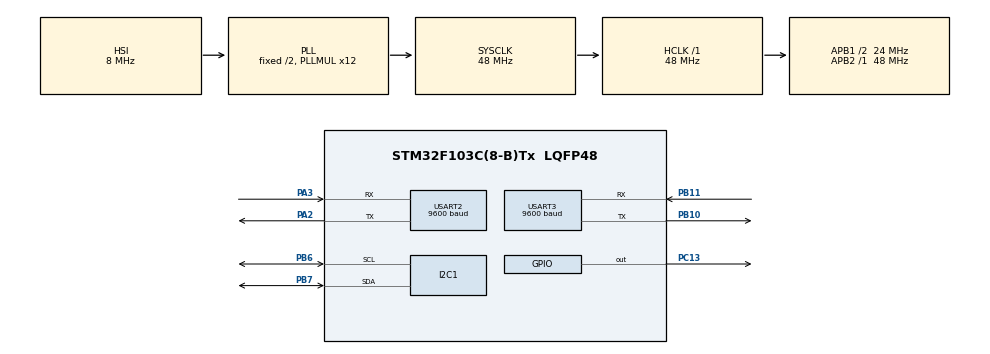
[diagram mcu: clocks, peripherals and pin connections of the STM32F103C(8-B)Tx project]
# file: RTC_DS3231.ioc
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Mcu.Family=STM32F1
Mcu.Name=STM32F103C(8-B)Tx
Mcu.Package=LQFP48
NVIC.PriorityGroup=NVIC_PRIORITYGROUP_4
NVIC.TIM1_UP_IRQn=true\:1\:0\:true\:false\:true\:false\:true
NVIC.TimeBase=TIM1_UP_IRQn
NVIC.TimeBaseIP=TIM1
PA13.Mode=Serial_Wire
PA13.Signal=SYS_JTMS-SWDIO
PA14.Mode=Serial_Wire
PA14.Signal=SYS_JTCK-SWCLK
PA2.Mode=Asynchronous
PA2.Signal=USART2_TX
PA3.Mode=Asynchronous
PA3.Signal=USART2_RX
PB10.Mode=Asynchronous
PB10.Signal=USART3_TX
PB11.Mode=Asynchronous
PB11.Signal=USART3_RX
PB6.Mode=I2C
PB6.Signal=I2C1_SCL
PB7.Mode=I2C
PB7.Signal=I2C1_SDA
PC13-TAMPER-RTC.Signal=GPIO_Output
ProjectManager.HeapSize=0x200
ProjectManager.StackSize=0x400
ProjectManager.TargetToolchain=MDK-ARM V5
RCC.AHBFreq_Value=48000000
RCC.APB1CLKDivider=RCC_HCLK_DIV2
RCC.APB1Freq_Value=24000000
RCC.APB1TimFreq_Value=48000000
RCC.APB2Freq_Value=48000000
RCC.APB2TimFreq_Value=48000000
RCC.HCLKFreq_Value=48000000
RCC.PLLMUL=RCC_PLL_MUL12
RCC.SYSCLKFreq_VALUE=48000000
RCC.SYSCLKSource=RCC_SYSCLKSOURCE_PLLCLK
RCC.USBFreq_Value=48000000
USART2.BaudRate=9600
USART2.VirtualMode=VM_ASYNC
USART3.BaudRate=9600
USART3.VirtualMode=VM_ASYNC
VP_SYS_VS_tim1.Mode=TIM1
board=custom

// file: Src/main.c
/* USER CODE BEGIN Header */
/**
  ******************************************************************************
  * @file           : main.c
  * @brief          : Main program body
  ******************************************************************************
  * @attention
  *
  * <h2><center>&copy; Copyright (c) 2021 STMicroelectronics.
  * All rights reserved.</center></h2>
  *
  * This software component is licensed by ST under BSD 3-Clause license,
  * the "License"; You may not use this file except in compliance with the
  * License. You may obtain a copy of the License at:
  *                        opensource.org/licenses/BSD-3-Clause
  *
  ******************************************************************************
  */
/* USER CODE END Header */
#include "main.h"

/* USER CODE BEGIN Includes */
#include <stdio.h>
#include <stdint.h>
#include <string.h>
#include "osKernel.h"
/* USER CODE END Includes */

/* USER CODE BEGIN PTD */
#define DS3231_ADRESS (0x68<<1)
#define DS3231_REG_TIME 0x00
/* USER CODE END PTD */

/* USER CODE BEGIN PD */
#ifdef __GNUC__
  /* With GCC, small printf (option LD Linker->Libraries->Small printf
     set to 'Yes') calls __io_putchar() */
  #define PUTCHAR_PROTOTYPE int __io_putchar(int ch)
#else
  #define PUTCHAR_PROTOTYPE int fputc(int ch, FILE *f)
#endif /* __GNUC__ */

typedef struct {
	uint8_t sec;
	uint8_t min;
	uint8_t hour;
	uint8_t day;
	uint8_t date;
	uint8_t month;
	uint8_t year;
	uint8_t I2C_Buffer[8];
}DS3231_t;
typedef enum {UART1, UART2, UART3} UARTx;
UARTx OUTPUT = UART2;
/* USER CODE END PD */

/* USER CODE BEGIN PM */
#define QUANTA 			1
DS3231_t DS3231;
int32_t semaphore1, semaphore2;
/* USER CODE END PM */

I2C_HandleTypeDef hi2c1;

UART_HandleTypeDef huart2;
UART_HandleTypeDef huart3;

void SystemClock_Config(void);
static void MX_GPIO_Init(void);
static void MX_I2C1_Init(void);
static void MX_USART2_UART_Init(void);
static void MX_USART3_UART_Init(void);
/* USER CODE BEGIN PFP */
uint8_t RTC_BCD2DEC(uint8_t c);
uint8_t RTC_DEC2BCD(uint8_t c);
void I2C_WriteBuffer(I2C_HandleTypeDef hi, uint8_t DEV_ADDR, uint8_t sizebuf);
void I2C_ReadBuffer(I2C_HandleTypeDef hi, uint8_t DEV_ADDR, uint8_t sizebuf);
void RTC_GetTime(void);
void RTC_SetTime(uint8_t hour, uint8_t min, uint8_t sec, uint8_t date, uint8_t month, uint8_t year);
void PRINTF(UARTx uart);
/* USER CODE END PFP */

/* USER CODE BEGIN 0 */
uint8_t RTC_BCD2DEC(uint8_t c)
{
	return (c>>4)*10 + (c&0x0F);
}
uint8_t RTC_DEC2BCD(uint8_t c)
{
	return (c/10)<<4|(c%10);
}
void I2C_WriteBuffer(I2C_HandleTypeDef hi, uint8_t DEV_ADDR, uint8_t sizebuf)
{
	while(HAL_I2C_Master_Transmit(&hi, (uint16_t)DEV_ADDR, (uint8_t*)&DS3231.I2C_Buffer, (uint16_t)sizebuf, (uint32_t)1000))
	{
		if(HAL_I2C_GetError(&hi) != HAL_I2C_ERROR_AF)
		{
			printf("Write buffer error\n\r");
		}
	}
}
void I2C_ReadBuffer(I2C_HandleTypeDef hi, uint8_t DEV_ADDR, uint8_t sizebuf)
{
	while(HAL_I2C_Master_Receive(&hi, (uint16_t)DEV_ADDR, (uint8_t*)&DS3231.I2C_Buffer, (uint16_t)sizebuf, (uint32_t)1000))
	{
		if(HAL_I2C_GetError(&hi) != HAL_I2C_ERROR_AF)
		{
			printf("Write buffer error\n\r");
		}
	}
}
void RTC_GetTime(void)
{
	DS3231.I2C_Buffer[0] = 0x00;
	I2C_WriteBuffer(hi2c1, (uint16_t)DS3231_ADRESS, 1);
	while(HAL_I2C_GetState(&hi2c1) != HAL_I2C_STATE_READY);
	I2C_ReadBuffer(hi2c1, (uint16_t)DS3231_ADRESS, 7);
	DS3231.day = RTC_BCD2DEC(DS3231.I2C_Buffer[3]);
	DS3231.date = RTC_BCD2DEC(DS3231.I2C_Buffer[4]);
	DS3231.month = RTC_BCD2DEC(DS3231.I2C_Buffer[5]);
	DS3231.year = RTC_BCD2DEC(DS3231.I2C_Buffer[6]);

	DS3231.sec = RTC_BCD2DEC(DS3231.I2C_Buffer[0]);
	DS3231.min = RTC_BCD2DEC(DS3231.I2C_Buffer[1]);
	DS3231.hour = RTC_BCD2DEC(DS3231.I2C_Buffer[2]);
}
void RTC_SetTime(uint8_t hour, uint8_t min, uint8_t sec, uint8_t date, uint8_t month, uint8_t year)
{
	DS3231.I2C_Buffer[0] = 0x00;
	DS3231.I2C_Buffer[1] = RTC_DEC2BCD(sec);
	DS3231.I2C_Buffer[2] = RTC_DEC2BCD(min);
	DS3231.I2C_Buffer[3] = RTC_DEC2BCD(hour);

	DS3231.I2C_Buffer[5] = RTC_DEC2BCD(date);
	DS3231.I2C_Buffer[6] = RTC_DEC2BCD(month);
	DS3231.I2C_Buffer[7] = RTC_DEC2BCD(year);
	I2C_WriteBuffer(hi2c1, (uint16_t)DS3231_ADRESS, 8);
	HAL_Delay(1000);
}

void Task1(void)
{
	while(1)
	{
		HAL_GPIO_TogglePin(GPIOC, GPIO_PIN_13);
		HAL_Delay(1000);
	}
}
void Task2(void)
{
	while(1)
	{
		osSignalWait(&semaphore1);
		RTC_GetTime();
		OUTPUT = UART2;
		printf(" Task 1 : %d/%d/%d    ", DS3231.date, DS3231.month, DS3231.year);
		printf(" %d:%d:%d\n\r", DS3231.hour, DS3231.min, DS3231.sec);
		osSignalSet(&semaphore2);
	}
}
void Task3(void)
{
	while(1)
	{
		osSignalWait(&semaphore2);
		RTC_GetTime();
		OUTPUT = UART3;
		printf(" Task 2 : %d/%d/%d    ", DS3231.date, DS3231.month, DS3231.year);
		printf(" %d:%d:%d\n\r", DS3231.hour, DS3231.min, DS3231.sec);
		osSignalSet(&semaphore1);
	}
}
void MeasureSystick(void)
{
	while(1);
}

/* USER CODE END 0 */

int main(void)
{

  /* MCU Configuration--------------------------------------------------------*/

  /* Reset of all peripherals, Initializes the Flash interface and the Systick. */
  HAL_Init();

  /* Configure the system clock */
  SystemClock_Config();

  /* Initialize all configured peripherals */
  MX_GPIO_Init();
  MX_I2C1_Init();
  MX_USART2_UART_Init();
  MX_USART3_UART_Init();
  /* USER CODE BEGIN 2 */
	printf("Welcome Handmake RTOS RTC\n\r");
  //printf("Setting time\n\r");
  //printf("Current time is 19:11:00 Oct 25th 2021\n\r");
  //RTC_SetTime(9, 10, 00, 8, 12, 21);
	osSemaphoreInit(&semaphore1, 1);
	osSemaphoreInit(&semaphore2, 0);
	osKernelInit();
	osKernelAddThreads(&Task1, &Task2, &Task3);
	osKernelLaunch(QUANTA);
  /* USER CODE END 2 */

  /* Infinite loop */
  while (1)
  {

  }
}

void SystemClock_Config(void)
{
  RCC_OscInitTypeDef RCC_OscInitStruct = {0};
  RCC_ClkInitTypeDef RCC_ClkInitStruct = {0};

  /** Initializes the RCC Oscillators according to the specified parameters
  * in the RCC_OscInitTypeDef structure.
  */
  RCC_OscInitStruct.OscillatorType = RCC_OSCILLATORTYPE_HSI;
  RCC_OscInitStruct.HSIState = RCC_HSI_ON;
  RCC_OscInitStruct.HSICalibrationValue = RCC_HSICALIBRATION_DEFAULT;
  RCC_OscInitStruct.PLL.PLLState = RCC_PLL_ON;
  RCC_OscInitStruct.PLL.PLLSource = RCC_PLLSOURCE_HSI_DIV2;
  RCC_OscInitStruct.PLL.PLLMUL = RCC_PLL_MUL12;
  if (HAL_RCC_OscConfig(&RCC_OscInitStruct) != HAL_OK)
  {
    Error_Handler();
  }
  /** Initializes the CPU, AHB and APB buses clocks
  */
  RCC_ClkInitStruct.ClockType = RCC_CLOCKTYPE_HCLK|RCC_CLOCKTYPE_SYSCLK
                              |RCC_CLOCKTYPE_PCLK1|RCC_CLOCKTYPE_PCLK2;
  RCC_ClkInitStruct.SYSCLKSource = RCC_SYSCLKSOURCE_PLLCLK;
  RCC_ClkInitStruct.AHBCLKDivider = RCC_SYSCLK_DIV1;
  RCC_ClkInitStruct.APB1CLKDivider = RCC_HCLK_DIV2;
  RCC_ClkInitStruct.APB2CLKDivider = RCC_HCLK_DIV1;

  if (HAL_RCC_ClockConfig(&RCC_ClkInitStruct, FLASH_LATENCY_1) != HAL_OK)
  {
    Error_Handler();
  }
}

static void MX_I2C1_Init(void)
{

  hi2c1.Instance = I2C1;
  hi2c1.Init.ClockSpeed = 100000;
  hi2c1.Init.DutyCycle = I2C_DUTYCYCLE_2;
  hi2c1.Init.OwnAddress1 = 0;
  hi2c1.Init.AddressingMode = I2C_ADDRESSINGMODE_7BIT;
  hi2c1.Init.DualAddressMode = I2C_DUALADDRESS_DISABLE;
  hi2c1.Init.OwnAddress2 = 0;
  hi2c1.Init.GeneralCallMode = I2C_GENERALCALL_DISABLE;
  hi2c1.Init.NoStretchMode = I2C_NOSTRETCH_DISABLE;
  if (HAL_I2C_Init(&hi2c1) != HAL_OK)
  {
    Error_Handler();
  }

}

static void MX_USART2_UART_Init(void)
{

  huart2.Instance = USART2;
  huart2.Init.BaudRate = 9600;
  huart2.Init.WordLength = UART_WORDLENGTH_8B;
  huart2.Init.StopBits = UART_STOPBITS_1;
  huart2.Init.Parity = UART_PARITY_NONE;
  huart2.Init.Mode = UART_MODE_TX_RX;
  huart2.Init.HwFlowCtl = UART_HWCONTROL_NONE;
  huart2.Init.OverSampling = UART_OVERSAMPLING_16;
  if (HAL_UART_Init(&huart2) != HAL_OK)
  {
    Error_Handler();
  }

}

static void MX_USART3_UART_Init(void)
{

  huart3.Instance = USART3;
  huart3.Init.BaudRate = 9600;
  huart3.Init.WordLength = UART_WORDLENGTH_8B;
  huart3.Init.StopBits = UART_STOPBITS_1;
  huart3.Init.Parity = UART_PARITY_NONE;
  huart3.Init.Mode = UART_MODE_TX_RX;
  huart3.Init.HwFlowCtl = UART_HWCONTROL_NONE;
  huart3.Init.OverSampling = UART_OVERSAMPLING_16;
  if (HAL_UART_Init(&huart3) != HAL_OK)
  {
    Error_Handler();
  }

}

static void MX_GPIO_Init(void)
{
  GPIO_InitTypeDef GPIO_InitStruct = {0};

  /* GPIO Ports Clock Enable */
  __HAL_RCC_GPIOC_CLK_ENABLE();
  __HAL_RCC_GPIOA_CLK_ENABLE();
  __HAL_RCC_GPIOB_CLK_ENABLE();

  /*Configure GPIO pin Output Level */
  HAL_GPIO_WritePin(GPIOC, GPIO_PIN_13, GPIO_PIN_RESET);

  /*Configure GPIO pin : PC13 */
  GPIO_InitStruct.Pin = GPIO_PIN_13;
  GPIO_InitStruct.Mode = GPIO_MODE_OUTPUT_PP;
  GPIO_InitStruct.Pull = GPIO_NOPULL;
  GPIO_InitStruct.Speed = GPIO_SPEED_FREQ_LOW;
  HAL_GPIO_Init(GPIOC, &GPIO_InitStruct);

}

/* USER CODE BEGIN 4 */
PUTCHAR_PROTOTYPE
{
  /* Place your implementation of fputc here */
  /* e.g. write a character to the EVAL_COM1 and Loop until the end of transmission */
	if (OUTPUT == UART2)
		HAL_UART_Transmit(&huart2, (uint8_t *)&ch, 1, 0xFFFF);
	else if(OUTPUT == UART3)
		HAL_UART_Transmit(&huart3, (uint8_t *)&ch, 1, 0xFFFF);
  return ch;
}
/* USER CODE END 4 */

void HAL_TIM_PeriodElapsedCallback(TIM_HandleTypeDef *htim)
{
  if (htim->Instance == TIM1) {
    HAL_IncTick();
  }
}

void Error_Handler(void)
{
  __disable_irq();
  while (1)
  {
  }
}

/************************ (C) COPYRIGHT STMicroelectronics *****END OF FILE****/
